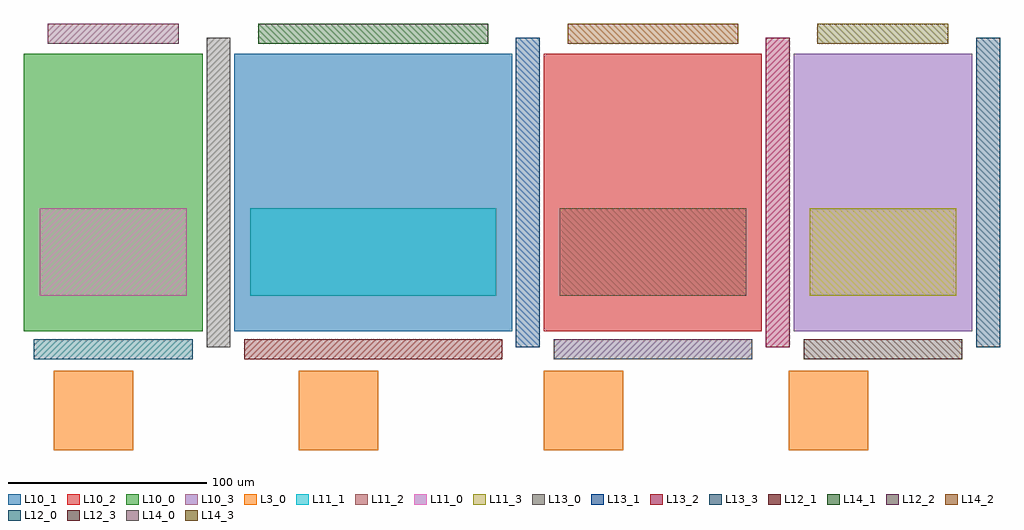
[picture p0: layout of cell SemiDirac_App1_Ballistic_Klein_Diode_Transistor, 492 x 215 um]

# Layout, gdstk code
import gdstk
lib = gdstk.Library(unit=1e-6, precision=1e-09)
def R(c, l, rs):  # rectangles x0, y0, x1, y1
    for r in rs: c.add(gdstk.rectangle(r[:2], r[2:], *l))
def A(c, l, x, y, w, h, nx, ny, dx, dy):  # array of equal rectangles
    R(c, l, [(x+i*dx, y+j*dy, x+i*dx+w, y+j*dy+h) for i in range(nx) for j in range(ny)])
L3_0 = (3, 0)
L10_0 = (10, 0)
L10_1 = (10, 1)
L10_2 = (10, 2)
L10_3 = (10, 3)
L11_0 = (11, 0)
L11_1 = (11, 1)
L11_2 = (11, 2)
L11_3 = (11, 3)
L12_0 = (12, 0)
L12_1 = (12, 1)
L12_2 = (12, 2)
L12_3 = (12, 3)
L13_0 = (13, 0)
L13_1 = (13, 1)
L13_2 = (13, 2)
L13_3 = (13, 3)
L14_0 = (14, 0)
L14_1 = (14, 1)
L14_2 = (14, 2)
L14_3 = (14, 3)

semidirac_app1_ballistic = lib.new_cell('SemiDirac_App1_Ballistic_Klein_Diode_Transistor')
A(semidirac_app1_ballistic, L3_0, 15, -60, 40, 40, 4, 1, 123.5, 0)
R(semidirac_app1_ballistic, L10_0, [(0,0,90,140)])
R(semidirac_app1_ballistic, L10_1, [(106,0,246,140)])
R(semidirac_app1_ballistic, L10_2, [(262,0,372,140)])
R(semidirac_app1_ballistic, L10_3, [(388,0,478,140)])
R(semidirac_app1_ballistic, L11_0, [(8,18,82,62)])
R(semidirac_app1_ballistic, L11_1, [(114,18,238,62)])
R(semidirac_app1_ballistic, L11_2, [(270,18,364,62)])
R(semidirac_app1_ballistic, L11_3, [(396,18,470,62)])
R(semidirac_app1_ballistic, L12_0, [(5,-14,85,-4)])
R(semidirac_app1_ballistic, L12_1, [(111,-14,241,-4)])
R(semidirac_app1_ballistic, L12_2, [(267,-14,367,-4)])
R(semidirac_app1_ballistic, L12_3, [(393,-14,473,-4)])
R(semidirac_app1_ballistic, L13_0, [(92,-8,104,148)])
R(semidirac_app1_ballistic, L13_1, [(248,-8,260,148)])
R(semidirac_app1_ballistic, L13_2, [(374,-8,386,148)])
R(semidirac_app1_ballistic, L13_3, [(480,-8,492,148)])
R(semidirac_app1_ballistic, L14_0, [(12,145,78,155)])
R(semidirac_app1_ballistic, L14_1, [(118,145,234,155)])
R(semidirac_app1_ballistic, L14_2, [(274,145,360,155)])
R(semidirac_app1_ballistic, L14_3, [(400,145,466,155)])

lib.write_gds('SemiDirac_App1_Ballistic_Klein_Diode_Transistor.gds')
